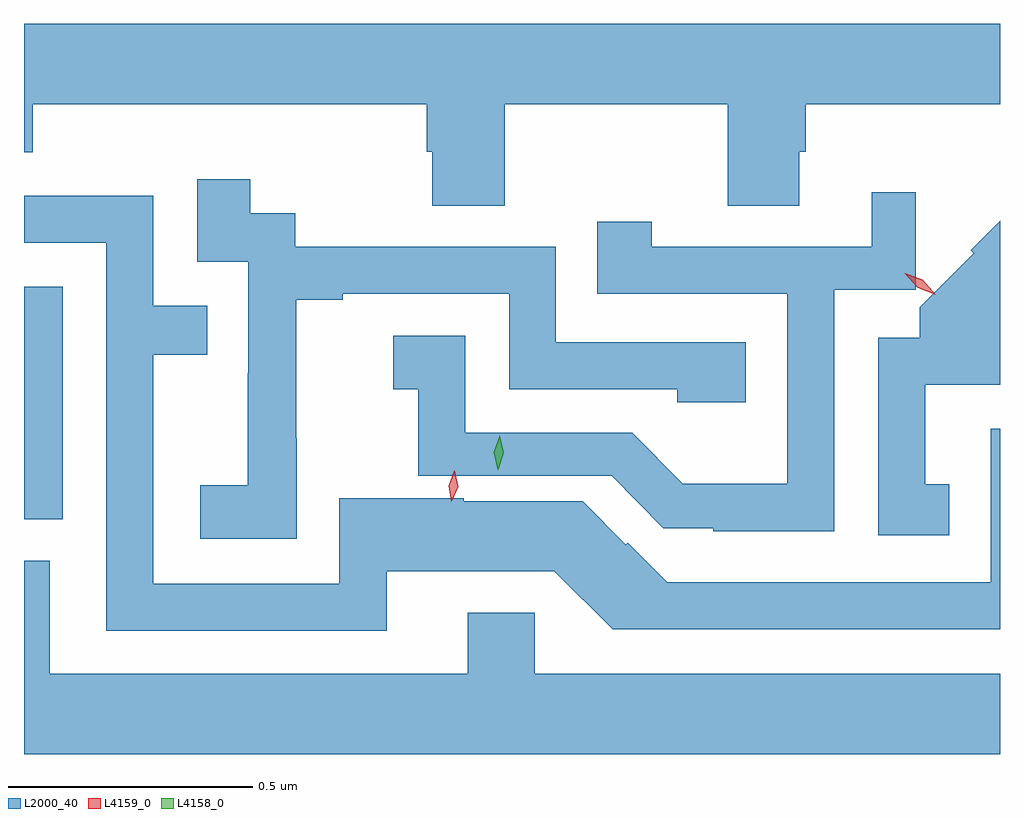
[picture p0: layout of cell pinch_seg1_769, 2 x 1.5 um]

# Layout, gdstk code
import gdstk
lib = gdstk.Library(unit=1e-6, precision=1e-09)
def R(c, l, rs):  # rectangles x0, y0, x1, y1
    for r in rs: c.add(gdstk.rectangle(r[:2], r[2:], *l))
def P(c, l, *ps):  # polygons
    for p in ps: c.add(gdstk.Polygon(p, *l))
L2000_40 = (2000, 40)
L4158_0 = (4158, 0)
L4159_0 = (4159, 0)

pinch_seg1_769 = lib.new_cell('pinch_seg1_769')
R(pinch_seg1_769, L2000_40, [(841.166,510.921,841.245,511.398)])
P(pinch_seg1_769, L2000_40, [(842.151,511.772),(842.608,511.772),(842.608,511.564),(842.755,511.564),(842.755,511.674),(842.768,511.674),(842.768,511.772),(843.166,511.772),(843.166,511.936),(841.166,511.936),(841.166,511.673),(841.184,511.673),(841.184,511.772),(841.991,511.772),(841.991,511.674),(842.003,511.674),(842.003,511.564),(842.151,511.564)],
  [(841.725,511.087),(841.724,511.087),(841.724,511.371),(841.819,511.371),(841.819,511.383),(842.16,511.383),(842.16,511.188),(842.505,511.188),(842.505,511.161),(842.645,511.161),(842.645,511.284),(842.256,511.284),(842.256,511.479),(841.722,511.479),(841.722,511.548),(841.63,511.548),(841.63,511.618),(841.521,511.618),(841.521,511.449),(841.626,511.449),(841.626,511.22),(841.625,511.22),(841.625,510.991),(841.527,510.991),(841.527,510.881),(841.725,510.881)],
  [(842.826,511.391),(842.993,511.391),(842.993,511.591),(842.903,511.591),(842.903,511.479),(842.452,511.479),(842.452,511.531),(842.341,511.531),(842.341,511.383),(842.73,511.383),(842.73,510.994),(842.516,510.994),(842.412,511.098),(842.07,511.098),(842.07,511.297),(841.923,511.297),(841.923,511.187),(841.974,511.187),(841.974,511.01),(842.37,511.01),(842.476,510.903),(842.578,510.903),(842.578,510.897),(842.826,510.897)],
  [(841.909,510.815),(842.253,510.815),(842.372,510.696),(843.166,510.696),(843.166,511.107),(843.147,511.107),(843.147,510.792),(842.484,510.792),(842.403,510.873),(842.399,510.869),(842.311,510.958),(842.067,510.958),(842.067,510.964),(841.812,510.964),(841.812,510.789),(841.431,510.789),(841.431,511.258),(841.541,511.258),(841.541,511.359),(841.431,511.359),(841.431,511.584),(841.166,511.584),(841.166,511.488),(841.335,511.488),(841.335,510.693),(841.909,510.693)],
  [(843.062,510.993),(843.013,510.993),(843.013,511.197),(843.166,511.197),(843.166,511.533),(843.106,511.472),(843.112,511.466),(843.002,511.356),(843.002,511.293),(842.916,511.293),(842.916,510.888),(843.062,510.888)],
  [(843.166,510.604),(842.213,510.604),(842.213,510.73),(842.075,510.73),(842.075,510.604),(841.219,510.604),(841.219,510.836),(841.166,510.836),(841.166,510.44),(843.166,510.44)])
P(pinch_seg1_769, L4158_0, [(842.137,511.023),(842.137,511.023),(842.129,511.058),(842.141,511.092),(842.141,511.092),(842.141,511.092),(842.149,511.057),(842.138,511.023)])
P(pinch_seg1_769, L4159_0, [(843.034,511.381),(842.997,511.395),(842.971,511.425),(842.971,511.425),(842.972,511.425),(843.008,511.412),(843.034,511.381),(843.034,511.381)],
  [(842.042,510.958),(842.042,510.958),(842.036,510.99),(842.048,511.02),(842.049,511.02),(842.049,511.02),(842.056,510.988),(842.043,510.958)])

lib.write_gds('pinch_seg1_769.gds')
